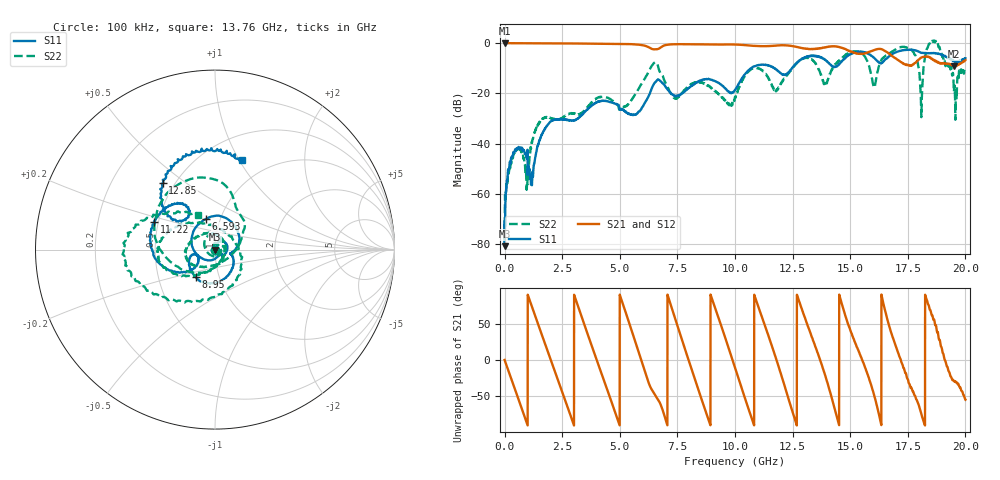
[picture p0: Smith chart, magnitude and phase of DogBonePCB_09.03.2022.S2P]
# Hz S RI R 50.00
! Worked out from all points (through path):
!   5000 points, 100 kHz to 20 GHz, reference 50 ohm
!   highest |S21| = 0.00 dB at 100 kHz (marker M1); lowest = -9.2 dB at 19.52 GHz (marker M2)
!   lowest |S11| = -80.8 dB at 8.102 MHz (marker M3), VSWR 1.00, Z = 50 + j0.00913 ohm
!   |S11| at or under -10 dB: start of sweep to 10.69 GHz; 11.7 GHz to 12.46 GHz (759.6 MHz wide, 6.29 % of centre)
!   |S22| runs from -77.6 to 1.1 dB; largest |S21 - S12| = 0
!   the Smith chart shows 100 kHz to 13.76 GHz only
!   S11 on the Smith chart (normalised r, x): 100 kHz: 1.00, +0.00; 6.593 GHz: 0.85, +0.30; 8.95 GHz: 0.77, -0.25; 11.22 GHz: 0.47, +0.17; 12.85 GHz: 0.43, +0.41; 13.76 GHz: 0.75, +1.02
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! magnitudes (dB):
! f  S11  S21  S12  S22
! 100 kHz  -70.8  0.0  0.0  -72.6
! 8.102 MHz  -80.8  0.0  0.0  -66.6
! 464.2 MHz  -42.2  0.0  0.0  -42.5
! 964.3 MHz  -45.6  0.0  0.0  -57.4
! 1.152 GHz  -55.8  -0.1  -0.1  -41.6
! 1.884 GHz  -32.3  -0.1  -0.1  -29.5
! 3.337 GHz  -28.7  -0.2  -0.2  -27.8
! 6.593 GHz  -15.0  -2.5  -2.5  -7.8
! 6.669 GHz  -14.4  -2.3  -2.3  -9.5
! 8.95 GHz  -14.6  -0.5  -0.5  -17.7
! 10 GHz  -18.6  -0.6  -0.6  -21.5
! 11.22 GHz  -8.6  -1.2  -1.2  -11.1
! 12.85 GHz  -6.5  -1.9  -1.9  -6.5
! 13.33 GHz  -5.1  -2.4  -2.4  -6.5
! 13.76 GHz  -5.7  -1.9  -1.9  -13.5
! 16.05 GHz  -6.0  -2.8  -2.8  -17.3
! 16.67 GHz  -5.4  -4.1  -4.1  -4.2
! 17.67 GHz  -2.6  -9.0  -9.0  -2.6
! 18.08 GHz  -3.8  -5.8  -5.8  -26.8
! 18.71 GHz  -4.0  -7.0  -7.0  0.9
! 19.52 GHz  -7.2  -9.2  -9.2  -17.5
! 20 GHz  -6.0  -6.8  -6.8  -11.5
